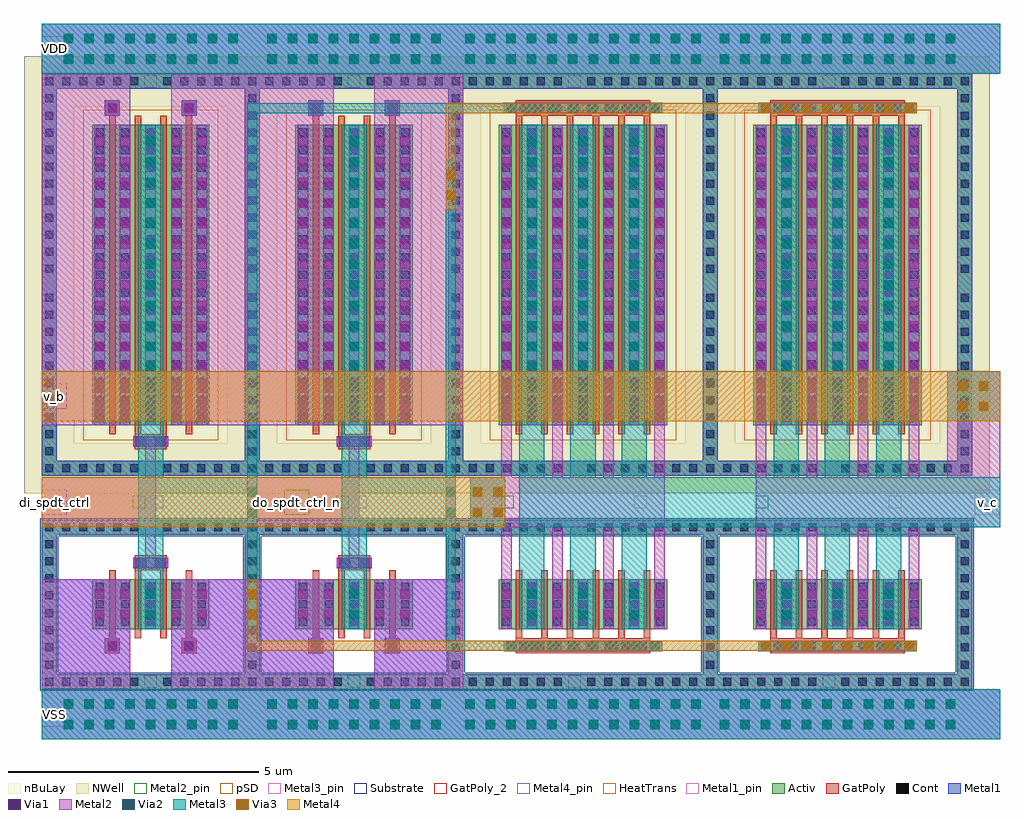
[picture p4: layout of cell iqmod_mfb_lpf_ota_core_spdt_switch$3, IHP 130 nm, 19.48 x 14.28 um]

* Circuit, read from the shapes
.subckt iqmod_mfb_lpf_ota_core_spdt_switch$3 VDD VSS di_spdt_ctrl do_spdt_ctrl_n v_a v_b v_c
XM1 VSS VSS VSS VSS sg13_lv_nmos w=1u l=0.13u m=4
XM2 do_spdt_ctrl_n di_spdt_ctrl VSS VSS sg13_lv_nmos w=1u l=0.13u m=2
XM3 iqmod_mfb_lpf_ota_core_spdt_switch_tg$4_1/di_tg_ctrl do_spdt_ctrl_n VSS VSS sg13_lv_nmos w=1u l=0.13u m=2
XM4 v_c iqmod_mfb_lpf_ota_core_spdt_switch_tg$4_1/di_tg_ctrl v_a VSS sg13_lv_nmos w=1u l=0.13u m=6
XM5 v_c do_spdt_ctrl_n v_b VSS sg13_lv_nmos w=1u l=0.13u m=6
XM6 VDD VDD VDD VDD sg13_lv_pmos w=6u l=0.13u m=4
XM7 do_spdt_ctrl_n di_spdt_ctrl VDD VDD sg13_lv_pmos w=6u l=0.13u m=2
XM8 iqmod_mfb_lpf_ota_core_spdt_switch_tg$4_1/di_tg_ctrl do_spdt_ctrl_n VDD VDD sg13_lv_pmos w=6u l=0.13u m=2
XM9 v_c do_spdt_ctrl_n v_a VDD sg13_lv_pmos w=6u l=0.13u m=6
XM10 v_c iqmod_mfb_lpf_ota_core_spdt_switch_tg$4_1/di_tg_ctrl v_b VDD sg13_lv_pmos w=6u l=0.13u m=6
.ends

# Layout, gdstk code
from math import pi, radians
import gdstk
lib = gdstk.Library(unit=1e-6, precision=5e-09)
def R(c, l, rs):  # rectangles x0, y0, x1, y1
    for r in rs: c.add(gdstk.rectangle(r[:2], r[2:], *l))
def A(c, l, x, y, w, h, nx, ny, dx, dy):  # array of equal rectangles
    R(c, l, [(x+i*dx, y+j*dy, x+i*dx+w, y+j*dy+h) for i in range(nx) for j in range(ny)])
def P(c, l, *ps):  # polygons
    for p in ps: c.add(gdstk.Polygon(p, *l))
Activ = (1, 0)
GatPoly = (5, 0)
GatPoly_2 = (5, 2)
Cont = (6, 0)
Metal1 = (8, 0)
Metal1_pin = (8, 2)
Metal2 = (10, 0)
Metal2_pin = (10, 2)
pSD = (14, 0)
Via1 = (19, 0)
Via2 = (29, 0)
Metal3 = (30, 0)
Metal3_pin = (30, 2)
NWell = (31, 0)
nBuLay = (32, 0)
Substrate = (40, 0)
Via3 = (49, 0)
Metal4 = (50, 0)
Metal4_pin = (50, 2)
HeatTrans = (51, 0)

nmos_74 = lib.new_cell('nmos$74')
A(nmos_74, Activ, 0, 0, 0.3, 0.3, 5, 1, 0.51, 0)
R(nmos_74, Activ, [(-1.01,-0.89,-0.71,1.89), (3.05,-0.89,3.35,1.89), (0,0,2.34,1), (-1.01,1.89,3.35,2.19)])
P(nmos_74, Activ, [(-1.01,-1.19),(-1.01,1.89),(-0.71,1.89),(-0.71,-0.89),(3.05,-0.89),(3.05,1.89),(-1.01,1.89),(-1.01,2.19),(3.35,2.19),(3.35,-1.19)])
A(nmos_74, GatPoly, 0.34, -0.18, 0.13, 1.36, 4, 1, 0.51, 0)
R(nmos_74, GatPoly_2, [(0.34,-0.18,0.47,1.18)])
A(nmos_74, Cont, -0.94, -1.12, 0.16, 0.16, 6, 2, 0.34, 3.08)
A(nmos_74, Cont, 1.42, -1.12, 0.16, 0.16, 6, 2, 0.34, 3.08)
A(nmos_74, Cont, -0.94, -0.78, 0.16, 0.16, 1, 4, 0, 0.34)
A(nmos_74, Cont, 3.12, -0.78, 0.16, 0.16, 1, 4, 0, 0.34)
A(nmos_74, Cont, 0.07, 0.07, 0.16, 0.16, 5, 3, 0.51, 0.35)
A(nmos_74, Cont, -0.94, 0.6, 0.16, 0.16, 1, 4, 0, 0.34)
A(nmos_74, Cont, 3.12, 0.6, 0.16, 0.16, 1, 4, 0, 0.34)
A(nmos_74, Metal1, 0.07, 0, 0.16, 1, 5, 1, 0.51, 0)
R(nmos_74, Metal1, [(-1.01,-1.19,3.35,-0.89), (-1.01,-0.89,-0.71,1.89), (3.05,-0.89,3.35,1.89), (-1.01,1.89,3.35,2.19)])
R(nmos_74, Metal1_pin, [(0.07,0,0.23,1), (0.58,0,0.74,1)])
R(nmos_74, pSD, [(-1.04,-0.86,-0.68,1.86), (3.02,-0.86,3.38,1.86), (-1.04,1.86,3.38,2.22)])
P(nmos_74, pSD, [(-1.04,-1.22),(-1.04,1.86),(-0.68,1.86),(-0.68,-0.86),(3.02,-0.86),(3.02,1.86),(-1.04,1.86),(-1.04,2.22),(3.38,2.22),(3.38,-1.22)])
R(nmos_74, Substrate, [(-1.04,-0.86,-0.68,1.86), (3.02,-0.86,3.38,1.86), (-1.04,1.86,3.38,2.22)])
P(nmos_74, Substrate, [(-1.04,-1.22),(-1.04,1.86),(-0.68,1.86),(-0.68,-0.86),(3.02,-0.86),(3.02,1.86),(-1.04,1.86),(-1.04,2.22),(3.38,2.22),(3.38,-1.22)])
A(nmos_74, HeatTrans, 0.34, -0.18, 0.13, 1.36, 4, 1, 0.51, 0)
nmos_74.add(gdstk.Label('nmos', (0.405,0.5), layer=63, texttype=0))
nmos_74.add(gdstk.Label('sub!', (1.17,-1.04), layer=63, texttype=0))
nmos_74.add(gdstk.Label('nmos', (0.405,0.5), layer=51, texttype=0))
nmos_74.add(gdstk.Label('nmos', (0.915,0.5), layer=51, texttype=0))
nmos_74.add(gdstk.Label('nmos', (1.425,0.5), layer=51, texttype=0))
nmos_74.add(gdstk.Label('nmos', (1.935,0.5), layer=51, texttype=0))

pmos_74 = lib.new_cell('pmos$74')
A(pmos_74, Activ, 0, 0, 0.3, 0.3, 5, 1, 0.51, 0)
R(pmos_74, Activ, [(-1.01,-0.71,-0.71,6.71), (3.05,-0.71,3.35,6.71), (0,0,2.34,6), (-1.01,6.71,3.35,7.01)])
P(pmos_74, Activ, [(-1.01,-1.01),(-1.01,6.71),(-0.71,6.71),(-0.71,-0.71),(3.05,-0.71),(3.05,6.71),(-1.01,6.71),(-1.01,7.01),(3.35,7.01),(3.35,-1.01)])
A(pmos_74, GatPoly, 0.34, -0.18, 0.13, 6.36, 4, 1, 0.51, 0)
R(pmos_74, GatPoly, [(0.34,-0.18,0.47,6.18)])
A(pmos_74, Cont, -0.94, -0.94, 0.16, 0.16, 6, 2, 0.34, 7.72)
A(pmos_74, Cont, 1.42, -0.94, 0.16, 0.16, 6, 2, 0.34, 7.72)
A(pmos_74, Cont, -0.94, -0.6, 0.16, 0.16, 1, 10, 0, 0.34)
A(pmos_74, Cont, 3.12, -0.6, 0.16, 0.16, 1, 10, 0, 0.34)
A(pmos_74, Cont, 0.07, 0.07, 0.16, 0.16, 5, 4, 0.51, 0.355)
A(pmos_74, Cont, 0.07, 1.495, 0.16, 0.16, 5, 4, 0.51, 0.355)
A(pmos_74, Cont, 0.07, 2.92, 0.16, 0.16, 5, 4, 0.51, 0.355)
A(pmos_74, Cont, -0.94, 3.04, 0.16, 0.16, 1, 11, 0, 0.34)
A(pmos_74, Cont, 3.12, 3.04, 0.16, 0.16, 1, 11, 0, 0.34)
A(pmos_74, Cont, 0.07, 4.345, 0.16, 0.16, 5, 4, 0.51, 0.355)
A(pmos_74, Cont, 0.07, 5.77, 0.16, 0.16, 5, 1, 0.51, 0)
A(pmos_74, Metal1, 0.58, 0, 0.16, 6, 4, 1, 0.51, 0)
R(pmos_74, Metal1, [(-1.01,-1.01,3.35,-0.71), (-1.01,-0.71,-0.71,6.71), (3.05,-0.71,3.35,6.71), (0.07,0,0.23,6), (0.07,0,0.23,6), (0.58,0,0.74,6), (-1.01,6.71,3.35,7.01)])
R(pmos_74, pSD, [(-0.18,-0.3,2.52,6.3)])
R(pmos_74, NWell, [(-1.36,-1.36,3.7,7.36), (-0.31,-0.31,2.65,6.31)])
R(pmos_74, nBuLay, [(-1.36,-0.36,-0.36,6.36), (2.7,-0.36,3.7,6.36), (-1.36,6.36,3.7,7.36)])
P(pmos_74, nBuLay, [(-1.36,-1.36),(-1.36,6.36),(-0.36,6.36),(-0.36,-0.36),(2.7,-0.36),(2.7,6.36),(-1.36,6.36),(-1.36,7.36),(3.7,7.36),(3.7,-1.36)])
R(pmos_74, Substrate, [(2.04,0,2.34,0.3)])
A(pmos_74, HeatTrans, 0.34, -0.18, 0.13, 6.36, 4, 1, 0.51, 0)
pmos_74.add(gdstk.Label('pmos', (0.405,3), layer=63, texttype=0))
pmos_74.add(gdstk.Label('well', (1.17,-0.86), layer=63, texttype=0))
pmos_74.add(gdstk.Label('pmos', (0.405,3), layer=51, texttype=0))
pmos_74.add(gdstk.Label('pmos', (0.915,3), layer=51, texttype=0))
pmos_74.add(gdstk.Label('pmos', (1.425,3), layer=51, texttype=0))
pmos_74.add(gdstk.Label('pmos', (1.935,3), layer=51, texttype=0))

via_stack_682 = lib.new_cell('via_stack$682')
R(via_stack_682, GatPoly, [(-0.32,-0.15,0.32,0.15)])
R(via_stack_682, Cont, [(-0.25,-0.08,-0.09,0.08), (0.09,-0.08,0.25,0.08)])
R(via_stack_682, Metal1, [(-0.35,-0.105,0.35,0.105)])
R(via_stack_682, Metal2, [(-0.35,-0.1,0.35,0.1)])
R(via_stack_682, Via1, [(-0.3,-0.095,-0.11,0.095), (0.11,-0.095,0.3,0.095)])

via_stack_683 = lib.new_cell('via_stack$683')
R(via_stack_683, GatPoly, [(-0.15,-0.15,0.15,0.15)])
R(via_stack_683, Cont, [(-0.08,-0.08,0.08,0.08)])
R(via_stack_683, Metal1, [(-0.145,-0.105,0.145,0.105)])
R(via_stack_683, Metal2, [(-0.145,-0.1,0.145,0.1)])
R(via_stack_683, Via1, [(-0.095,-0.095,0.095,0.095)])

via_stack_684 = lib.new_cell('via_stack$684')
R(via_stack_684, Metal1, [(-0.105,-0.35,0.105,0.35)])
R(via_stack_684, Metal2, [(-0.1,-0.35,0.1,0.35)])
R(via_stack_684, Via1, [(-0.095,-0.3,0.095,-0.11), (-0.095,0.11,0.095,0.3)])
R(via_stack_684, Via2, [(-0.095,-0.3,0.095,-0.11), (-0.095,0.11,0.095,0.3)])
R(via_stack_684, Metal3, [(-0.1,-0.35,0.1,0.35)])

via_stack_685 = lib.new_cell('via_stack$685')
R(via_stack_685, Metal1, [(-0.105,-2.81,0.105,2.81)])
R(via_stack_685, Metal2, [(-0.1,-2.81,0.1,2.81)])
A(via_stack_685, Via1, -0.095, -2.76, 0.19, 0.19, 1, 14, 0, 0.41)
A(via_stack_685, Via2, -0.095, -2.76, 0.19, 0.19, 1, 14, 0, 0.41)
R(via_stack_685, Metal3, [(-0.1,-2.81,0.1,2.81)])

via_stack_686 = lib.new_cell('via_stack$686')
R(via_stack_686, Metal1, [(-1.785,-0.31,1.785,0.31)])
R(via_stack_686, Metal2, [(-1.785,-0.305,1.785,0.305)])
A(via_stack_686, Via1, -1.735, -0.3, 0.19, 0.19, 9, 2, 0.41, 0.41)
A(via_stack_686, Via2, -1.735, -0.3, 0.19, 0.19, 9, 2, 0.41, 0.41)
R(via_stack_686, Metal3, [(-1.785,-0.305,1.785,0.305)])

via_stack_687 = lib.new_cell('via_stack$687')
R(via_stack_687, Metal1, [(-0.105,-0.35,0.105,0.35)])
R(via_stack_687, Metal2, [(-0.1,-0.35,0.1,0.35)])
R(via_stack_687, Via1, [(-0.095,-0.3,0.095,-0.11), (-0.095,0.11,0.095,0.3)])

via_stack_688 = lib.new_cell('via_stack$688')
R(via_stack_688, Metal1, [(-0.105,-2.81,0.105,2.81)])
R(via_stack_688, Metal2, [(-0.1,-2.81,0.1,2.81)])
A(via_stack_688, Via1, -0.095, -2.76, 0.19, 0.19, 1, 14, 0, 0.41)

iqmod_mfb_lpf_ota_core_s = lib.new_cell('iqmod_mfb_lpf_ota_core_spdt_switch_inv$4')
A(iqmod_mfb_lpf_ota_core_s, Metal1, 1.405, 6.27, 0.21, 6, 5, 1, 0.51, 0)
R(iqmod_mfb_lpf_ota_core_s, Metal1, [(0.35,0,4.71,1), (0.35,1,2.125,3.19), (2.28,1,2.78,1.3), (2.935,1,4.71,3.19), (1.615,1.71,1.915,2.01), (3.145,1.71,3.445,2.01), (2.425,2.19,2.635,3.19), (1.615,12.45,1.915,12.75), (3.145,12.45,3.445,12.75), (2.28,12.98,2.78,13.28), (0.35,13.28,4.71,14.28)])
R(iqmod_mfb_lpf_ota_core_s, Metal1_pin, [(2.405,1.025,2.655,1.275), (2.405,13.005,2.655,13.255)])
A(iqmod_mfb_lpf_ota_core_s, Metal2, 1.405, 6.27, 0.21, 6, 5, 1, 0.51, 0)
R(iqmod_mfb_lpf_ota_core_s, Metal2, [(0.35,0,4.71,1), (0.35,1,2.125,3.19), (2.935,1,4.71,3.19), (1.615,1.71,1.915,2.01), (3.145,1.71,3.445,2.01), (2.425,2.19,2.635,3.19), (2.425,3.62,2.635,5.84), (2.175,4.23,2.425,5.23), (0.35,6.27,2.125,13.28), (0.35,6.27,2.125,13.28), (2.935,6.27,4.71,13.28), (2.935,6.27,4.71,13.28), (1.615,12.45,1.915,12.75), (3.145,12.45,3.445,12.75), (0.35,13.28,4.71,14.28)])
R(iqmod_mfb_lpf_ota_core_s, Metal2_pin, [(2.175,4.605,2.425,4.855)])
R(iqmod_mfb_lpf_ota_core_s, Metal3, [(0.35,0,4.71,1), (2.28,2.19,2.78,12.27), (2.425,2.19,2.635,3.19), (2.28,4.23,2.78,5.23), (2.425,6.27,2.635,12.27), (0.35,13.28,4.71,14.28)])
P(iqmod_mfb_lpf_ota_core_s, Metal3, [(3.03,4.98),(3.03,4.98),(3.03,4.98),(3.03,4.98)])
R(iqmod_mfb_lpf_ota_core_s, Metal3_pin, [(2.53,4.605,2.78,4.855)])
iqmod_mfb_lpf_ota_core_s.add(gdstk.Reference(nmos_74, (1.36,2.19)))
iqmod_mfb_lpf_ota_core_s.add(gdstk.Reference(pmos_74, (1.36,6.27)))
iqmod_mfb_lpf_ota_core_s.add(gdstk.Reference(via_stack_682, (2.53,3.52)))
iqmod_mfb_lpf_ota_core_s.add(gdstk.Reference(via_stack_682, (2.53,5.94)))
iqmod_mfb_lpf_ota_core_s.add(gdstk.Reference(via_stack_683, (1.765,1.86)))
iqmod_mfb_lpf_ota_core_s.add(gdstk.Reference(via_stack_684, (2.53,2.69)))
iqmod_mfb_lpf_ota_core_s.add(gdstk.Reference(via_stack_683, (3.295,1.86)))
iqmod_mfb_lpf_ota_core_s.add(gdstk.Reference(via_stack_685, (2.53,9.27)))
iqmod_mfb_lpf_ota_core_s.add(gdstk.Reference(via_stack_686, (2.53,0.5)))
iqmod_mfb_lpf_ota_core_s.add(gdstk.Reference(via_stack_687, (3.55,2.69)))
iqmod_mfb_lpf_ota_core_s.add(gdstk.Reference(via_stack_687, (3.04,2.69)))
iqmod_mfb_lpf_ota_core_s.add(gdstk.Reference(via_stack_687, (2.02,2.69)))
iqmod_mfb_lpf_ota_core_s.add(gdstk.Reference(via_stack_687, (1.51,2.69)))
iqmod_mfb_lpf_ota_core_s.add(gdstk.Reference(via_stack_686, (2.53,13.78)))
iqmod_mfb_lpf_ota_core_s.add(gdstk.Reference(via_stack_683, (3.295,12.6), rotation=pi, x_reflection=True))
iqmod_mfb_lpf_ota_core_s.add(gdstk.Reference(via_stack_683, (1.765,12.6)))
iqmod_mfb_lpf_ota_core_s.add(gdstk.Reference(via_stack_688, (1.51,9.27)))
iqmod_mfb_lpf_ota_core_s.add(gdstk.Reference(via_stack_688, (3.55,9.27), rotation=pi, x_reflection=True))
iqmod_mfb_lpf_ota_core_s.add(gdstk.Reference(via_stack_688, (2.02,9.27)))
iqmod_mfb_lpf_ota_core_s.add(gdstk.Reference(via_stack_688, (3.04,9.27), rotation=pi, x_reflection=True))
iqmod_mfb_lpf_ota_core_s.add(gdstk.Label('vin', (2.3,4.73), layer=10, texttype=25))
iqmod_mfb_lpf_ota_core_s.add(gdstk.Label('VDD', (2.53,13.13), layer=8, texttype=25))
iqmod_mfb_lpf_ota_core_s.add(gdstk.Label('VSS', (2.53,1.15), layer=8, texttype=25))
iqmod_mfb_lpf_ota_core_s.add(gdstk.Label('vout', (2.655,4.73), layer=30, texttype=25))

pmos_75 = lib.new_cell('pmos$75')
A(pmos_75, Activ, 0, 0, 0.3, 0.3, 7, 1, 0.51, 0)
R(pmos_75, Activ, [(-1.01,-0.71,-0.71,6.71), (4.07,-0.71,4.37,6.71), (0,0,3.36,6), (-1.01,6.71,4.37,7.01)])
P(pmos_75, Activ, [(-1.01,-1.01),(-1.01,6.71),(-0.71,6.71),(-0.71,-0.71),(4.07,-0.71),(4.07,6.71),(-1.01,6.71),(-1.01,7.01),(4.37,7.01),(4.37,-1.01)])
A(pmos_75, GatPoly, 0.34, -0.18, 0.13, 6.36, 6, 1, 0.51, 0)
R(pmos_75, GatPoly, [(0.34,-0.18,0.47,6.18)])
A(pmos_75, Cont, -0.94, -0.94, 0.16, 0.16, 7, 2, 0.34, 7.72)
A(pmos_75, Cont, 1.76, -0.94, 0.16, 0.16, 8, 2, 0.34, 7.72)
A(pmos_75, Cont, -0.94, -0.6, 0.16, 0.16, 1, 10, 0, 0.34)
A(pmos_75, Cont, 4.14, -0.6, 0.16, 0.16, 1, 10, 0, 0.34)
A(pmos_75, Cont, 0.07, 0.07, 0.16, 0.16, 7, 4, 0.51, 0.355)
A(pmos_75, Cont, 0.07, 1.495, 0.16, 0.16, 7, 4, 0.51, 0.355)
A(pmos_75, Cont, 0.07, 2.92, 0.16, 0.16, 7, 4, 0.51, 0.355)
A(pmos_75, Cont, -0.94, 3.04, 0.16, 0.16, 1, 11, 0, 0.34)
A(pmos_75, Cont, 4.14, 3.04, 0.16, 0.16, 1, 11, 0, 0.34)
A(pmos_75, Cont, 0.07, 4.345, 0.16, 0.16, 7, 4, 0.51, 0.355)
A(pmos_75, Cont, 0.07, 5.77, 0.16, 0.16, 7, 1, 0.51, 0)
A(pmos_75, Metal1, 0.58, 0, 0.16, 6, 6, 1, 0.51, 0)
R(pmos_75, Metal1, [(-1.01,-1.01,4.37,-0.71), (-1.01,-0.71,-0.71,6.71), (4.07,-0.71,4.37,6.71), (0.07,0,0.23,6), (0.07,0,0.23,6), (0.58,0,0.74,6), (-1.01,6.71,4.37,7.01)])
R(pmos_75, pSD, [(-0.18,-0.3,3.54,6.3)])
R(pmos_75, NWell, [(-1.36,-1.36,4.72,7.36), (-0.31,-0.31,3.67,6.31)])
R(pmos_75, nBuLay, [(-1.36,-0.36,-0.36,6.36), (3.72,-0.36,4.72,6.36), (-1.36,6.36,4.72,7.36)])
P(pmos_75, nBuLay, [(-1.36,-1.36),(-1.36,6.36),(-0.36,6.36),(-0.36,-0.36),(3.72,-0.36),(3.72,6.36),(-1.36,6.36),(-1.36,7.36),(4.72,7.36),(4.72,-1.36)])
R(pmos_75, Substrate, [(3.06,0,3.36,0.3)])
A(pmos_75, HeatTrans, 0.34, -0.18, 0.13, 6.36, 6, 1, 0.51, 0)
pmos_75.add(gdstk.Label('pmos', (0.405,3), layer=63, texttype=0))
pmos_75.add(gdstk.Label('well', (1.68,-0.86), layer=63, texttype=0))
pmos_75.add(gdstk.Label('pmos', (0.405,3), layer=51, texttype=0))
pmos_75.add(gdstk.Label('pmos', (0.915,3), layer=51, texttype=0))
pmos_75.add(gdstk.Label('pmos', (1.425,3), layer=51, texttype=0))
pmos_75.add(gdstk.Label('pmos', (1.935,3), layer=51, texttype=0))
pmos_75.add(gdstk.Label('pmos', (2.445,3), layer=51, texttype=0))
pmos_75.add(gdstk.Label('pmos', (2.955,3), layer=51, texttype=0))

nmos_75 = lib.new_cell('nmos$75')
A(nmos_75, Activ, 0, 0, 0.3, 0.3, 7, 1, 0.51, 0)
R(nmos_75, Activ, [(-1.01,-0.89,-0.71,1.89), (4.07,-0.89,4.37,1.89), (0,0,3.36,1), (-1.01,1.89,4.37,2.19)])
P(nmos_75, Activ, [(-1.01,-1.19),(-1.01,1.89),(-0.71,1.89),(-0.71,-0.89),(4.07,-0.89),(4.07,1.89),(-1.01,1.89),(-1.01,2.19),(4.37,2.19),(4.37,-1.19)])
A(nmos_75, GatPoly, 0.34, -0.18, 0.13, 1.36, 6, 1, 0.51, 0)
R(nmos_75, GatPoly_2, [(0.34,-0.18,0.47,1.18)])
A(nmos_75, Cont, -0.94, -1.12, 0.16, 0.16, 7, 2, 0.34, 3.08)
A(nmos_75, Cont, 1.76, -1.12, 0.16, 0.16, 8, 2, 0.34, 3.08)
A(nmos_75, Cont, -0.94, -0.78, 0.16, 0.16, 1, 4, 0, 0.34)
A(nmos_75, Cont, 4.14, -0.78, 0.16, 0.16, 1, 4, 0, 0.34)
A(nmos_75, Cont, 0.07, 0.07, 0.16, 0.16, 7, 3, 0.51, 0.35)
A(nmos_75, Cont, -0.94, 0.6, 0.16, 0.16, 1, 4, 0, 0.34)
A(nmos_75, Cont, 4.14, 0.6, 0.16, 0.16, 1, 4, 0, 0.34)
A(nmos_75, Metal1, 0.07, 0, 0.16, 1, 7, 1, 0.51, 0)
R(nmos_75, Metal1, [(-1.01,-1.19,4.37,-0.89), (-1.01,-0.89,-0.71,1.89), (4.07,-0.89,4.37,1.89), (-1.01,1.89,4.37,2.19)])
R(nmos_75, Metal1_pin, [(0.07,0,0.23,1), (0.58,0,0.74,1)])
R(nmos_75, pSD, [(-1.04,-0.86,-0.68,1.86), (4.04,-0.86,4.4,1.86), (-1.04,1.86,4.4,2.22)])
P(nmos_75, pSD, [(-1.04,-1.22),(-1.04,1.86),(-0.68,1.86),(-0.68,-0.86),(4.04,-0.86),(4.04,1.86),(-1.04,1.86),(-1.04,2.22),(4.4,2.22),(4.4,-1.22)])
R(nmos_75, Substrate, [(-1.04,-0.86,-0.68,1.86), (4.04,-0.86,4.4,1.86), (-1.04,1.86,4.4,2.22)])
P(nmos_75, Substrate, [(-1.04,-1.22),(-1.04,1.86),(-0.68,1.86),(-0.68,-0.86),(4.04,-0.86),(4.04,1.86),(-1.04,1.86),(-1.04,2.22),(4.4,2.22),(4.4,-1.22)])
A(nmos_75, HeatTrans, 0.34, -0.18, 0.13, 1.36, 6, 1, 0.51, 0)
nmos_75.add(gdstk.Label('nmos', (0.405,0.5), layer=63, texttype=0))
nmos_75.add(gdstk.Label('sub!', (1.68,-1.04), layer=63, texttype=0))
nmos_75.add(gdstk.Label('nmos', (0.405,0.5), layer=51, texttype=0))
nmos_75.add(gdstk.Label('nmos', (0.915,0.5), layer=51, texttype=0))
nmos_75.add(gdstk.Label('nmos', (1.425,0.5), layer=51, texttype=0))
nmos_75.add(gdstk.Label('nmos', (1.935,0.5), layer=51, texttype=0))
nmos_75.add(gdstk.Label('nmos', (2.445,0.5), layer=51, texttype=0))
nmos_75.add(gdstk.Label('nmos', (2.955,0.5), layer=51, texttype=0))

via_stack_689 = lib.new_cell('via_stack$689')
R(via_stack_689, Metal1, [(-0.105,-0.35,0.105,0.35)])
R(via_stack_689, Metal2, [(-0.1,-0.35,0.1,0.35)])
R(via_stack_689, Via1, [(-0.095,-0.3,0.095,-0.11), (-0.095,0.11,0.095,0.3)])

via_stack_690 = lib.new_cell('via_stack$690')
R(via_stack_690, GatPoly, [(-1.34,-0.15,1.34,0.15)])
A(via_stack_690, Cont, -1.27, -0.08, 0.16, 0.16, 8, 1, 0.34, 0)
R(via_stack_690, Metal1, [(-1.58,-0.105,1.58,0.105)])
R(via_stack_690, Metal2, [(-1.58,-0.1,1.58,0.1)])
A(via_stack_690, Via1, -1.53, -0.095, 0.19, 0.19, 8, 1, 0.41, 0)

via_stack_691 = lib.new_cell('via_stack$691')
R(via_stack_691, Metal1, [(-0.105,-0.35,0.105,0.35)])
R(via_stack_691, Metal2, [(-0.1,-0.35,0.1,0.35)])
R(via_stack_691, Via1, [(-0.095,-0.3,0.095,-0.11), (-0.095,0.11,0.095,0.3)])
R(via_stack_691, Via2, [(-0.095,-0.3,0.095,-0.11), (-0.095,0.11,0.095,0.3)])
R(via_stack_691, Metal3, [(-0.1,-0.35,0.1,0.35)])

via_stack_692 = lib.new_cell('via_stack$692')
R(via_stack_692, Metal1, [(-2.4,-0.31,2.4,0.31)])
R(via_stack_692, Metal2, [(-2.4,-0.305,2.4,0.305)])
A(via_stack_692, Via1, -2.35, -0.3, 0.19, 0.19, 12, 2, 0.41, 0.41)
A(via_stack_692, Via2, -2.35, -0.3, 0.19, 0.19, 12, 2, 0.41, 0.41)
R(via_stack_692, Metal3, [(-2.4,-0.305,2.4,0.305)])

via_stack_693 = lib.new_cell('via_stack$693')
R(via_stack_693, Metal1, [(-0.105,-2.81,0.105,2.81)])
R(via_stack_693, Metal2, [(-0.1,-2.81,0.1,2.81)])
A(via_stack_693, Via1, -0.095, -2.76, 0.19, 0.19, 1, 14, 0, 0.41)
A(via_stack_693, Via2, -0.095, -2.76, 0.19, 0.19, 1, 14, 0, 0.41)
R(via_stack_693, Metal3, [(-0.1,-2.81,0.1,2.81)])

via_stack_694 = lib.new_cell('via_stack$694')
R(via_stack_694, Metal1, [(-0.105,-2.81,0.105,2.81)])
R(via_stack_694, Metal2, [(-0.1,-2.81,0.1,2.81)])
A(via_stack_694, Via1, -0.095, -2.76, 0.19, 0.19, 1, 14, 0, 0.41)

c_iqmod_mfb_lpf_ota_core_s = lib.new_cell('iqmod_mfb_lpf_ota_core_spdt_switch_tg$4')
A(c_iqmod_mfb_lpf_ota_core_s, Metal1, 2.425, 2.19, 0.21, 1, 3, 1, 0.51, 0)
A(c_iqmod_mfb_lpf_ota_core_s, Metal1, 3.445, 2.19, 0.21, 1, 3, 1, 0.51, 0)
A(c_iqmod_mfb_lpf_ota_core_s, Metal1, 1.405, 6.27, 0.21, 6, 7, 1, 0.51, 0)
R(c_iqmod_mfb_lpf_ota_core_s, Metal1, [(0.35,0,5.73,1), (2.62,1,3.12,1.3), (1.405,2.19,1.615,3.19), (1.405,2.19,1.615,3.19), (1.915,2.19,2.125,3.19), (1.915,2.19,2.125,3.19), (2.425,2.19,2.635,3.19), (4.465,2.19,4.675,3.19), (2.62,12.98,3.12,13.28), (0.35,13.28,5.73,14.28)])
R(c_iqmod_mfb_lpf_ota_core_s, Metal1_pin, [(2.745,1.025,2.995,1.275), (2.745,13.005,2.995,13.255)])
A(c_iqmod_mfb_lpf_ota_core_s, Metal2, 1.405, 2.19, 0.21, 1, 7, 1, 0.51, 0)
A(c_iqmod_mfb_lpf_ota_core_s, Metal2, 1.405, 3.19, 0.21, 3.08, 4, 1, 1.02, 0)
A(c_iqmod_mfb_lpf_ota_core_s, Metal2, 1.405, 6.27, 0.21, 6, 7, 1, 0.51, 0)
R(c_iqmod_mfb_lpf_ota_core_s, Metal2, [(0.35,0,5.73,1), (2.93,1.76,3.15,1.96), (1.405,4.23,3.655,5.23), (1.405,4.23,4.675,5.23), (2.93,12.5,3.15,12.7), (0.35,13.28,5.73,14.28)])
R(c_iqmod_mfb_lpf_ota_core_s, Metal2_pin, [(2.965,1.785,3.115,1.935), (1.405,4.605,1.655,4.855), (2.965,12.525,3.115,12.675)])
A(c_iqmod_mfb_lpf_ota_core_s, Metal3, 1.77, 2.19, 0.5, 10.08, 3, 1, 1.02, 0)
A(c_iqmod_mfb_lpf_ota_core_s, Metal3, 1.915, 2.19, 0.21, 1, 3, 1, 1.02, 0)
A(c_iqmod_mfb_lpf_ota_core_s, Metal3, 1.915, 6.27, 0.21, 6, 3, 1, 1.02, 0)
R(c_iqmod_mfb_lpf_ota_core_s, Metal3, [(0.35,0,5.73,1), (1.77,4.23,4.31,5.23), (0.35,13.28,5.73,14.28)])
R(c_iqmod_mfb_lpf_ota_core_s, Metal3_pin, [(4.06,4.605,4.31,4.855)])
c_iqmod_mfb_lpf_ota_core_s.add(gdstk.Reference(pmos_75, (1.36,6.27)))
c_iqmod_mfb_lpf_ota_core_s.add(gdstk.Reference(nmos_75, (1.36,2.19)))
c_iqmod_mfb_lpf_ota_core_s.add(gdstk.Reference(via_stack_689, (1.51,2.69)))
c_iqmod_mfb_lpf_ota_core_s.add(gdstk.Reference(via_stack_690, (3.04,1.86)))
c_iqmod_mfb_lpf_ota_core_s.add(gdstk.Reference(via_stack_691, (2.02,2.69)))
c_iqmod_mfb_lpf_ota_core_s.add(gdstk.Reference(via_stack_691, (3.04,2.69)))
c_iqmod_mfb_lpf_ota_core_s.add(gdstk.Reference(via_stack_691, (4.06,2.69)))
c_iqmod_mfb_lpf_ota_core_s.add(gdstk.Reference(via_stack_689, (2.53,2.69)))
c_iqmod_mfb_lpf_ota_core_s.add(gdstk.Reference(via_stack_689, (3.55,2.69)))
c_iqmod_mfb_lpf_ota_core_s.add(gdstk.Reference(via_stack_689, (4.57,2.69)))
c_iqmod_mfb_lpf_ota_core_s.add(gdstk.Reference(via_stack_692, (3.04,13.78)))
c_iqmod_mfb_lpf_ota_core_s.add(gdstk.Reference(via_stack_692, (3.04,0.5)))
c_iqmod_mfb_lpf_ota_core_s.add(gdstk.Reference(via_stack_690, (3.04,12.6)))
c_iqmod_mfb_lpf_ota_core_s.add(gdstk.Reference(via_stack_693, (4.06,9.27)))
c_iqmod_mfb_lpf_ota_core_s.add(gdstk.Reference(via_stack_694, (1.51,9.27)))
c_iqmod_mfb_lpf_ota_core_s.add(gdstk.Reference(via_stack_694, (3.55,9.27), rotation=pi, x_reflection=True))
c_iqmod_mfb_lpf_ota_core_s.add(gdstk.Reference(via_stack_694, (2.53,9.27)))
c_iqmod_mfb_lpf_ota_core_s.add(gdstk.Reference(via_stack_694, (4.57,9.27), rotation=pi, x_reflection=True))
c_iqmod_mfb_lpf_ota_core_s.add(gdstk.Reference(via_stack_693, (3.04,9.27)))
c_iqmod_mfb_lpf_ota_core_s.add(gdstk.Reference(via_stack_693, (2.02,9.27)))
c_iqmod_mfb_lpf_ota_core_s.add(gdstk.Label('di_tg_ctrl_n', (3.04,12.6), layer=10, texttype=25))
c_iqmod_mfb_lpf_ota_core_s.add(gdstk.Label('v_a', (1.53,4.73), layer=10, texttype=25))
c_iqmod_mfb_lpf_ota_core_s.add(gdstk.Label('di_tg_ctrl', (3.04,1.86), layer=10, texttype=25))
c_iqmod_mfb_lpf_ota_core_s.add(gdstk.Label('VDD', (2.87,13.13), layer=8, texttype=25))
c_iqmod_mfb_lpf_ota_core_s.add(gdstk.Label('VSS', (2.87,1.15), layer=8, texttype=25))
c_iqmod_mfb_lpf_ota_core_s.add(gdstk.Label('v_b', (4.185,4.73), layer=30, texttype=25))

via_31 = lib.new_cell('Via$31')
R(via_31, Metal2, [(-0.1,-0.5,0.1,0.5)])
R(via_31, Via2, [(-0.095,-0.3,0.095,-0.11), (-0.095,0.11,0.095,0.3)])
R(via_31, Metal3, [(-0.1,-0.5,0.1,0.5)])

via_stack_695 = lib.new_cell('via_stack$695')
R(via_stack_695, Metal2, [(-1.58,-0.1,1.58,0.1)])
A(via_stack_695, Via2, -1.53, -0.095, 0.19, 0.19, 8, 1, 0.41, 0)
R(via_stack_695, Metal3, [(-1.58,-0.1,1.58,0.1)])
A(via_stack_695, Via3, -1.53, -0.095, 0.19, 0.19, 8, 1, 0.41, 0)
R(via_stack_695, Metal4, [(-1.58,-0.1,1.58,0.1)])

via_stack_696 = lib.new_cell('via_stack$696')
R(via_stack_696, Metal2, [(-1.58,-0.1,1.58,0.1)])
A(via_stack_696, Via2, -1.53, -0.095, 0.19, 0.19, 8, 1, 0.41, 0)
R(via_stack_696, Metal3, [(-1.58,-0.1,1.58,0.1)])

via_stack_697 = lib.new_cell('via_stack$697')
R(via_stack_697, Metal2, [(-0.35,-0.305,0.35,0.305)])
R(via_stack_697, Via2, [(-0.3,-0.3,-0.11,-0.11), (0.11,-0.3,0.3,-0.11), (-0.3,0.11,-0.11,0.3), (0.11,0.11,0.3,0.3)])
R(via_stack_697, Metal3, [(-0.35,-0.305,0.35,0.305)])
R(via_stack_697, Via3, [(-0.3,-0.3,-0.11,-0.11), (0.11,-0.3,0.3,-0.11), (-0.3,0.11,-0.11,0.3), (0.11,0.11,0.3,0.3)])
R(via_stack_697, Metal4, [(-0.35,-0.305,0.35,0.305)])

via_32 = lib.new_cell('Via$32')
R(via_32, Metal3, [(-0.1,-0.5,0.1,0.5)])
R(via_32, Via3, [(-0.095,-0.3,0.095,-0.11), (-0.095,0.11,0.095,0.3)])
R(via_32, Metal4, [(-0.1,-0.5,0.1,0.5)])

c_iqmod_mfb_lpf_ota_core_s_ = lib.new_cell('iqmod_mfb_lpf_ota_core_spdt_switch$3')
R(c_iqmod_mfb_lpf_ota_core_s_, Metal1, [(18.93,0,19.485,1), (18.93,13.28,19.485,14.28)])
R(c_iqmod_mfb_lpf_ota_core_s_, Metal2, [(18.93,0,19.485,1), (0.35,4.23,2.175,5.23), (4.66,4.23,6.235,5.23), (8.905,4.23,9.525,5.23), (17.875,4.23,19.485,5.23), (18.43,5.23,19.485,7.345), (18.43,6.345,19.485,7.345), (18.93,13.28,19.485,14.28)])
R(c_iqmod_mfb_lpf_ota_core_s_, Metal2_pin, [(0.35,4.48,0.85,4.98), (5.195,4.48,5.695,4.98)])
R(c_iqmod_mfb_lpf_ota_core_s_, Metal3, [(18.93,0,19.485,1), (8.42,1.76,8.62,4.23), (8.62,1.76,9.58,1.96), (9.58,1.76,12.74,1.96), (14.66,1.76,17.82,1.96), (4.46,3.19,4.66,4.23), (2.78,4.23,4.46,5.23), (6.84,4.23,8.42,5.23), (8.905,4.23,9.605,5.23), (12.43,4.23,14.97,5.23), (17.51,4.23,19.485,5.23), (4.46,5.23,4.66,12.5), (8.42,5.23,8.62,10.57), (18.43,6.345,19.485,7.345), (4.46,12.5,9.58,12.7), (9.58,12.5,12.74,12.7), (14.66,12.5,17.82,12.7), (18.93,13.28,19.485,14.28)])
R(c_iqmod_mfb_lpf_ota_core_s_, Metal3_pin, [(0.35,0.25,0.85,0.75), (18.985,4.48,19.485,4.98), (0.35,13.53,0.85,14.03)])
R(c_iqmod_mfb_lpf_ota_core_s_, Metal4, [(4.46,1.76,14.66,1.96), (14.66,1.76,17.82,1.96), (4.46,1.96,4.66,2.19), (0.35,4.23,9.605,5.23), (8.905,4.23,9.605,5.23), (0.35,6.345,19.485,7.345), (18.43,6.345,19.485,7.345), (8.42,10.57,8.62,12.5), (8.42,12.5,14.66,12.7), (14.66,12.5,17.82,12.7)])
R(c_iqmod_mfb_lpf_ota_core_s_, Metal4_pin, [(0.35,4.48,0.85,4.98), (0.35,6.595,0.85,7.095)])
c_iqmod_mfb_lpf_ota_core_s_.add(gdstk.Reference(iqmod_mfb_lpf_ota_core_s, (0,0)))
c_iqmod_mfb_lpf_ota_core_s_.add(gdstk.Reference(c_iqmod_mfb_lpf_ota_core_s, (8.12,0)))
c_iqmod_mfb_lpf_ota_core_s_.add(gdstk.Reference(c_iqmod_mfb_lpf_ota_core_s, (13.2,0)))
c_iqmod_mfb_lpf_ota_core_s_.add(gdstk.Reference(via_31, (4.56,4.73)))
c_iqmod_mfb_lpf_ota_core_s_.add(gdstk.Reference(iqmod_mfb_lpf_ota_core_s, (4.06,0)))
c_iqmod_mfb_lpf_ota_core_s_.add(gdstk.Reference(via_31, (8.52,4.73)))
c_iqmod_mfb_lpf_ota_core_s_.add(gdstk.Reference(via_stack_695, (16.24,12.6)))
c_iqmod_mfb_lpf_ota_core_s_.add(gdstk.Reference(via_stack_696, (11.16,12.6)))
c_iqmod_mfb_lpf_ota_core_s_.add(gdstk.Reference(via_stack_696, (11.16,1.86)))
c_iqmod_mfb_lpf_ota_core_s_.add(gdstk.Reference(via_stack_695, (16.24,1.86)))
c_iqmod_mfb_lpf_ota_core_s_.add(gdstk.Reference(via_stack_697, (9.255,4.73)))
c_iqmod_mfb_lpf_ota_core_s_.add(gdstk.Reference(via_stack_697, (18.955,6.845)))
c_iqmod_mfb_lpf_ota_core_s_.add(gdstk.Reference(via_32, (8.52,11.07)))
c_iqmod_mfb_lpf_ota_core_s_.add(gdstk.Reference(via_32, (4.56,2.69)))
c_iqmod_mfb_lpf_ota_core_s_.add(gdstk.Label('do_spdt_ctrl_n', (5.445,4.73), layer=10, texttype=25))
c_iqmod_mfb_lpf_ota_core_s_.add(gdstk.Label('di_spdt_ctrl', (0.6,4.73), layer=10, texttype=25))
c_iqmod_mfb_lpf_ota_core_s_.add(gdstk.Label('v_c', (19.235,4.73), layer=30, texttype=25))
c_iqmod_mfb_lpf_ota_core_s_.add(gdstk.Label('VDD', (0.6,13.78), layer=30, texttype=25))
c_iqmod_mfb_lpf_ota_core_s_.add(gdstk.Label('VSS', (0.6,0.5), layer=30, texttype=25))
c_iqmod_mfb_lpf_ota_core_s_.add(gdstk.Label('v_a', (0.6,4.73), layer=50, texttype=25))
c_iqmod_mfb_lpf_ota_core_s_.add(gdstk.Label('v_b', (0.6,6.845), layer=50, texttype=25))

lib.write_gds('iqmod_mfb_lpf_ota_core_spdt_switch_3.gds')
